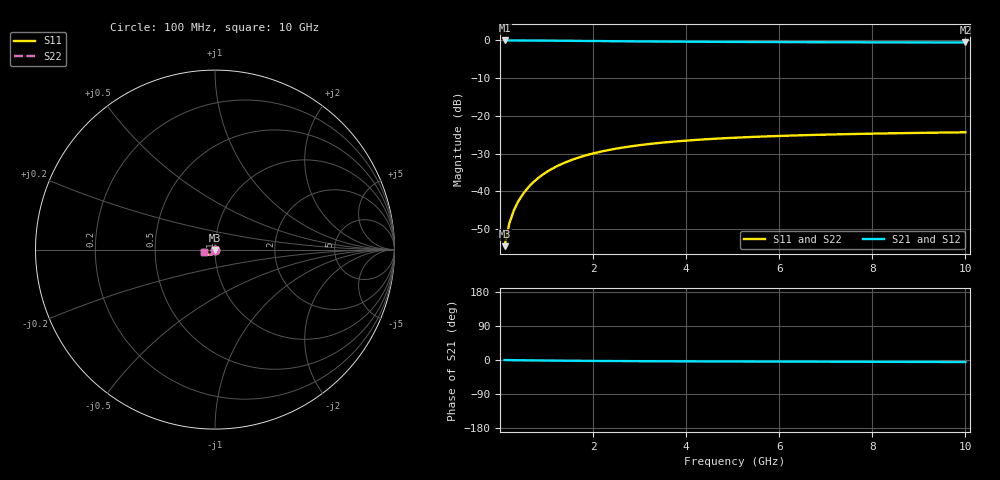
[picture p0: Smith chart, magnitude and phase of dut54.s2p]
! Touchstone file exported from HFSS 2024.1.0
!  File:  C:/UserFiles/LocalFiles/RDL_TSV_Batchsim/temp_TSV1_54_1778748939.aedt
!  Generated:  05:00:10 PM May 14, 2026
!  Design:  TSV1
!  Project:  temp_TSV1_54_1778748939
!  Setup:  Setup1
!  Solution:  Sweep
! Variables:
!  dtsv = 14.74um
!  hbump = 3um
!  htsv = 81.43um
!  lrdl = 252.1521522um
!  p = 40
!  p1 = 54.74um
!  t = 500um
!  trdl = 3um
!  wrdl = 24.89489489um
# GHz S MA R 50.000000
! Terminal data exported
! Port[1] = TSV22_T1
! Port[2] = TSV22_T2
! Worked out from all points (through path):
!   100 points, 100 MHz to 10 GHz, reference 50 ohm
!   highest |S21| = 0.00 dB at 100 MHz (marker M1); lowest = -0.5 dB at 10 GHz (marker M2)
!   lowest |S11| = -54.5 dB at 100 MHz (marker M3), VSWR 1.00, Z = 50 - j0.188 ohm
!   |S11| at or under -10 dB: start of sweep to end of sweep
!   |S22| runs from -54.5 to -24.3 dB; largest |S21 - S12| = 9.2e-15
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0.1  0.001884 -89.4  0.9999 -0.2  0.9999 -0.2  0.001884 -89.4
! Gamma 0 0 0 0
! Port Impedance 50 0 50 0
0.2  0.003766 -92.4  0.9996 -0.3  0.9996 -0.3  0.003766 -92.4
0.3  0.005644 -94.6  0.9993 -0.5  0.9993 -0.5  0.005644 -94.6
0.4  0.007509 -96.6  0.9989 -0.6  0.9989 -0.6  0.007509 -96.6
0.5  0.009352 -98.6  0.9983 -0.8  0.9983 -0.8  0.009352 -98.6
0.6  0.01117 -100.6  0.9977 -0.9  0.9977 -0.9  0.01117 -100.6
0.7  0.01295 -102.4  0.9969 -1.0  0.9969 -1.0  0.01295 -102.4
0.8  0.01469 -104.3  0.9961 -1.2  0.9961 -1.2  0.01469 -104.3
0.9  0.01639 -106.1  0.9952 -1.3  0.9952 -1.3  0.01639 -106.1
1.1  0.01965 -109.6  0.9932 -1.6  0.9932 -1.6  0.01965 -109.6
1.4  0.02417 -114.4  0.9899 -1.9  0.9899 -1.9  0.02417 -114.4
1.6  0.02693 -117.5  0.9875 -2.1  0.9875 -2.1  0.02693 -117.5
1.8  0.02948 -120.3  0.9851 -2.3  0.9851 -2.3  0.02948 -120.3
2.1  0.03294 -124.3  0.9815 -2.5  0.9815 -2.5  0.03294 -124.3
2.5  0.03692 -129.1  0.9769 -2.8  0.9769 -2.8  0.03692 -129.1
2.9  0.04027 -133.3  0.9726 -3.0  0.9726 -3.0  0.04027 -133.3
3.4  0.04376 -137.9  0.9678 -3.3  0.9678 -3.3  0.04376 -137.9
4.2  0.04808 -144.0  0.9614 -3.6  0.9614 -3.6  0.04808 -144.0
5.1  0.05165 -149.5  0.9558 -3.9  0.9558 -3.9  0.05165 -149.5
6.7  0.05595 -157.0  0.9486 -4.4  0.9486 -4.4  0.05595 -157.0
8.4  0.05886 -163.0  0.9436 -4.9  0.9436 -4.9  0.05886 -163.0
10  0.06071 -167.6  0.9404 -5.4  0.9404 -5.4  0.06071 -167.6
